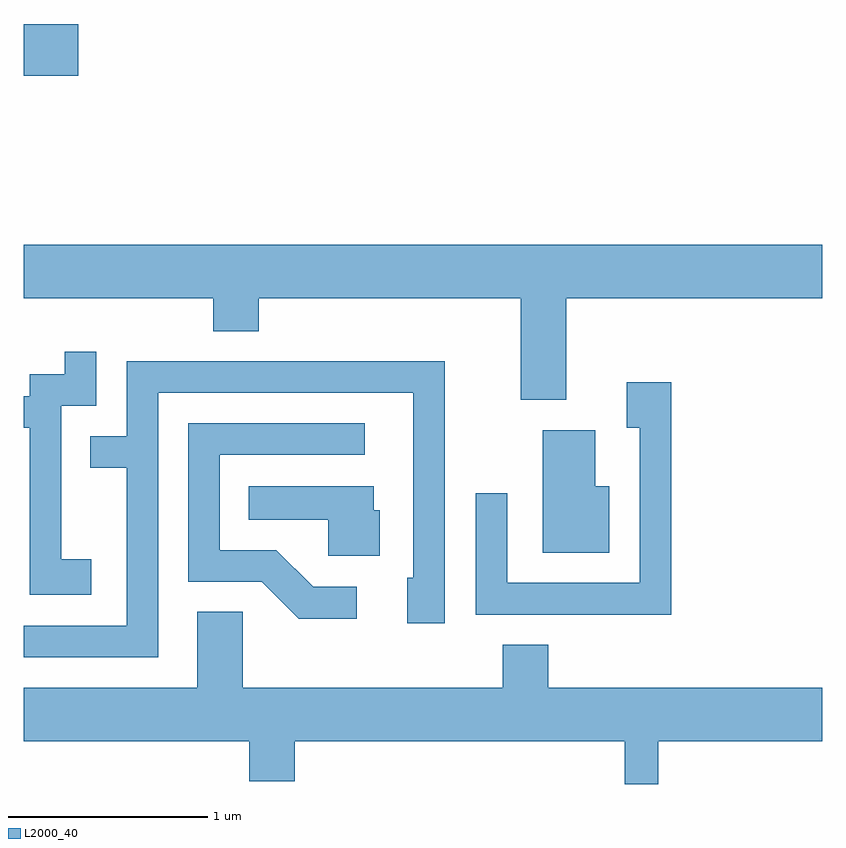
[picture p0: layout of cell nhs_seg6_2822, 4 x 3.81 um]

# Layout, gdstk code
import gdstk
lib = gdstk.Library(unit=1e-6, precision=1e-09)
def R(c, l, rs):  # rectangles x0, y0, x1, y1
    for r in rs: c.add(gdstk.rectangle(r[:2], r[2:], *l))
def P(c, l, *ps):  # polygons
    for p in ps: c.add(gdstk.Polygon(p, *l))
L2000_40 = (2000, 40)

nhs_seg6_2822 = lib.new_cell('nhs_seg6_2822')
R(nhs_seg6_2822, L2000_40, [(269.611,1657.711,269.884,1657.969)])
P(nhs_seg6_2822, L2000_40, [(272.329,1656.596),(273.611,1656.596),(273.611,1656.864),(269.611,1656.864),(269.611,1656.596),(270.561,1656.596),(270.561,1656.431),(270.789,1656.431),(270.789,1656.596),(272.101,1656.596),(272.101,1656.086),(272.329,1656.086)],
  [(269.949,1655.289),(269.799,1655.289),(269.799,1656.056),(269.974,1656.056),(269.974,1656.328),(269.816,1656.328),(269.816,1656.214),(269.641,1656.214),(269.641,1656.104),(269.611,1656.104),(269.611,1655.946),(269.641,1655.946),(269.641,1655.111),(269.949,1655.111)],
  [(270.284,1656.121),(271.561,1656.121),(271.561,1655.194),(271.531,1655.194),(271.531,1654.966),(271.719,1654.966),(271.719,1656.279),(270.126,1656.279),(270.126,1655.904),(269.943,1655.904),(269.943,1655.746),(270.126,1655.746),(270.126,1654.954),(269.611,1654.954),(269.611,1654.796),(270.284,1654.796)],
  [(272.854,1656.174),(272.631,1656.174),(272.631,1655.946),(272.696,1655.946),(272.696,1655.169),(272.034,1655.169),(272.034,1655.618),(271.876,1655.618),(271.876,1655.011),(272.854,1655.011)],
  [(271.278,1655.149),(271.062,1655.149),(270.877,1655.334),(270.594,1655.334),(270.594,1655.811),(271.318,1655.811),(271.318,1655.969),(270.436,1655.969),(270.436,1655.176),(270.804,1655.176),(270.989,1654.991),(271.278,1654.991)],
  [(272.544,1655.654),(272.474,1655.654),(272.474,1655.934),(272.211,1655.934),(272.211,1655.321),(272.544,1655.321)],
  [(271.394,1655.534),(271.364,1655.534),(271.364,1655.654),(270.738,1655.654),(270.738,1655.486),(271.136,1655.486),(271.136,1655.306),(271.394,1655.306)],
  [(272.789,1654.376),(273.611,1654.376),(273.611,1654.644),(272.239,1654.644),(272.239,1654.859),(272.011,1654.859),(272.011,1654.644),(270.709,1654.644),(270.709,1655.024),(270.481,1655.024),(270.481,1654.644),(269.611,1654.644),(269.611,1654.376),(270.741,1654.376),(270.741,1654.176),(270.969,1654.176),(270.969,1654.376),(272.621,1654.376),(272.621,1654.162),(272.789,1654.162)])

lib.write_gds('nhs_seg6_2822.gds')
